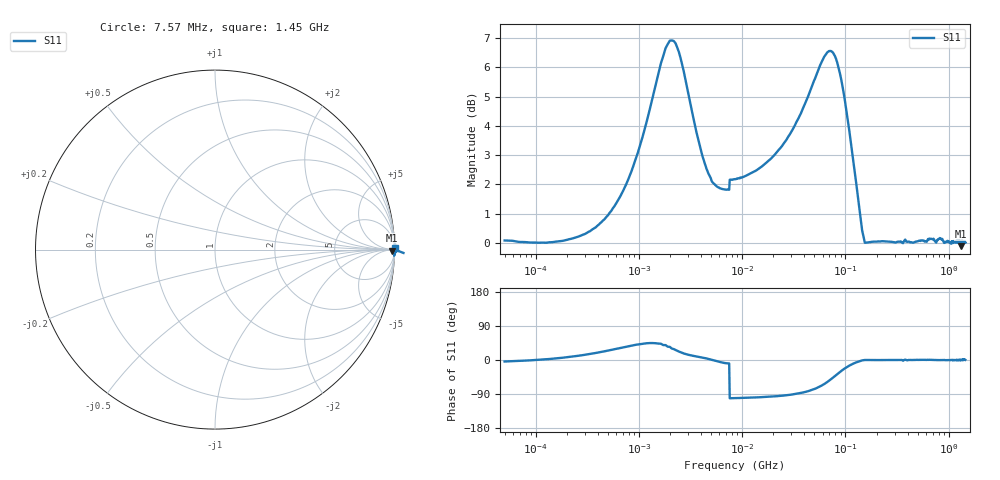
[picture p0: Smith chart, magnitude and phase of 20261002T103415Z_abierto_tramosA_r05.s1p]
! piloto_saltos / abierto_tramosA / r05
# HZ S RI R 50
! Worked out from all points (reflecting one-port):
!   501 points, 50 kHz to 1.45 GHz, reference 50 ohm
!   lowest |S11| = -0.1 dB at 1.306 GHz (marker M1), VSWR 152.89, Z = 6.55e+03 - j2.67e+03 ohm
!   phase of S11 starts at -4 deg and turns +4 deg over the sweep
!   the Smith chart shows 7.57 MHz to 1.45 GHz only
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50000  1.007 -0.0697
183000  1.002 0.1057
373000  1.008 0.3294
658000  1.021 0.6302
1180000  1.152 1.117
1630000  1.483 1.382
1990000  1.823 1.262
2440000  1.961 0.8018
3340000  1.615 0.3163
4690000  1.314 0.0698
7300000  1.22 -0.1925
7750000  -0.2408 -1.259
8560000  -0.2341 -1.264
1.81e7  -0.1694 -1.373
3.16e7  -0.0125 -1.577
4.69e7  0.3385 -1.813
5.68e7  0.7009 -1.886
6.49e7  1.045 -1.827
7.39e7  1.397 -1.599
8.65e7  1.648 -1.1
9.82e7  1.629 -0.6736
1e8  1.61 -0.6205
1.18e8  1.376 -0.244
1.36e8  1.148 -0.0687
1.63e8  1.001 -0.000841
4.06e8  1.005 1e-05
1.306e9  0.987 -0.00527
1.45e9  1.002 0.00769
